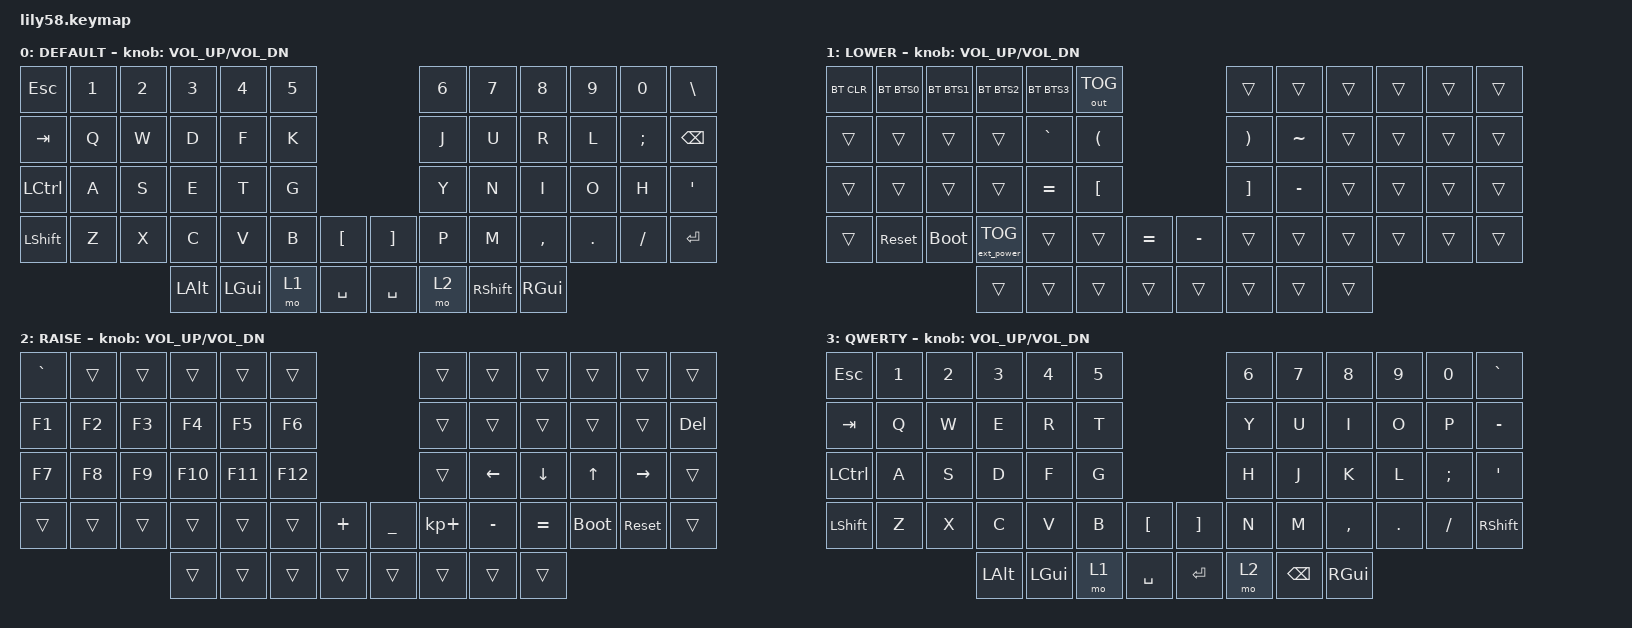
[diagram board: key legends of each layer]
/*
 * Copyright (c) 2020 The ZMK Contributors
 *
 * SPDX-License-Identifier: MIT
 */

#include <behaviors.dtsi>
#include <dt-bindings/zmk/keys.h>
#include <dt-bindings/zmk/bt.h>
#include <dt-bindings/zmk/ext_power.h>
#include <dt-bindings/zmk/outputs.h>

#define BTS0  BT_SEL 0
#define BTS1  BT_SEL 1
#define BTS2  BT_SEL 2
#define BTS3  BT_SEL 3
#define EPTOG &ext_power EP_TOG

// DEFINE LAYER NUMBERS
#define	DEFAULT 0
#define	LOWER 1
#define	RAISE 2
#define	QWERTY 3

/ {
	keymap {
		compatible = "zmk,keymap";

		DEFAULT {
// ------------------------------------------------------------------------------------------------------------
// |  ESC  |  1  |  2  |  3   |  4   |  5   |                   |  6   |  7    |  8    |  9   |   0   |   \   |
// |  TAB  |  Q  |  W  |  E   |  R   |  T   |                   |  Y   |  U    |  I    |  O   |   P   | BSPC  |
// |  CTRL |  A  |  S  |  D   |  F   |  G   |                   |  H   |  J    |  K    |  L   |   ;   |   '   |
// | SHIFT |  Z  |  X  |  C   |  V   |  B   |   "["  |  |  "]"  |  N   |  M    |  ,    |  .   |   /   | ENTER |
//                     | ALT  | GUI  | LOWER|  SPACE |  | SPACE | RAISE| BSPC  | GUI   |
			bindings = <
&kp ESC    &kp N1  &kp N2  &kp N3    &kp N4    &kp N5                        &kp N6  &kp N7     &kp N8     &kp N9   &kp N0    &kp BSLH
&kp TAB    &kp Q   &kp W   &kp D     &kp F     &kp K                         &kp J   &kp U      &kp R      &kp L    &kp SEMI  &kp BSPC
&kp LCTRL  &kp A   &kp S   &kp E     &kp T     &kp G                         &kp Y   &kp N      &kp I      &kp O    &kp H     &kp SQT
&kp LSHFT  &kp Z   &kp X   &kp C     &kp V     &kp B   &kp LBKT   &kp RBKT   &kp P   &kp M      &kp COMMA  &kp DOT  &kp FSLH  &kp RET
                           &kp LALT  &kp LGUI  &mo 1   &kp SPACE  &kp SPACE  &mo 2   &kp RSHFT  &kp RGUI
			>;

			sensor-bindings = <&inc_dec_kp C_VOL_UP C_VOL_DN>;
		};

		LOWER {
// ------------------------------------------------------------------------------------------------------------
// | BTCLR | BT0 | BT1 |  BT2 |  BT3 |  OUTPUT Toggle|          |      |       |       |      |       |       |
// |  F1   |  F2 |  F3 |  F4  |  F5  |  F6  |                   |  F7  |  F8   |  F9   |  F10 |  F11  |  F12  |
// |   `   |  !  |  @  |  #   |  $   |  %   |                   |  ^   |  &    |  *    |  (   |   )   |   ~   |
// |       |RESET| BLDR|      |      |      |        |  |       |      |  _    |  +    |  {   |   }   |  "|"  |
//                     |      |      |      |        |  |       |      |       |       |
			bindings = <
&bt BT_CLR  &bt BTS0   &bt BTS1      &bt BTS2  &bt BTS3   &out OUT_TOG                         &trans    &trans     &trans  &trans  &trans  &trans
&trans      &trans     &trans        &trans    &kp GRAVE  &kp LPAR                             &kp RPAR  &kp TILDE  &trans  &trans  &trans  &trans
&trans      &trans     &trans        &trans    &kp EQUAL  &kp LBKT                             &kp RBKT  &kp MINUS  &trans  &trans  &trans  &trans
&trans      &sys_reset &bootloader   EPTOG     &trans     &trans        &kp EQUAL   &kp MINUS  &trans    &trans     &trans  &trans  &trans  &trans
                                     &trans    &trans     &trans        &trans      &trans     &trans    &trans     &trans
			>;

			sensor-bindings = <&inc_dec_kp C_VOL_UP C_VOL_DN>;
		};

		RAISE {
// ------------------------------------------------------------------------------------------------------------
// |       |     |     |      |      |      |                   |      |       |       |      |       |       |
// |   `   |  1  |  2  |  3   |  4   |  5   |                   |  6   |   7   |   8   |  9   |   0   |       |
// |   F1  |  F2 |  F3 |  F4  |  F5  |  F6  |                   |      |   <-  |   ^   |  v   |  ->   |       |
// |   F7  |  F8 |  F9 |  F10 |  F11 |  F12 |        |  |       |  +   |   -   |   =   | BTLDR| RESET |   \   |
//                     |      |      |      |        |  |       |      |       |       |
			bindings = <
&kp GRAVE  &trans  &trans  &trans  &trans  &trans                          &trans       &trans     &trans     &trans       &trans     &trans
&kp F1     &kp F2  &kp F3  &kp F4  &kp F5  &kp F6                          &trans       &trans     &trans     &trans       &trans     &kp DEL
&kp F7     &kp F8  &kp F9  &kp F10 &kp F11 &kp F12                         &trans       &kp LEFT   &kp DOWN   &kp UP       &kp RIGHT  &trans
&trans     &trans  &trans  &trans  &trans  &trans   &kp PLUS    &kp UNDER  &kp KP_PLUS  &kp MINUS  &kp EQUAL  &bootloader  &sys_reset &trans
                           &trans  &trans  &trans   &trans      &trans     &trans       &trans     &trans
			>;

			sensor-bindings = <&inc_dec_kp C_VOL_UP C_VOL_DN>;
		};
		QWERTY {
// ------------------------------------------------------------------------------------------------------------
// |  ESC  |  1  |  2  |  3   |  4   |  5   |                   |  6   |  7    |  8    |  9   |   0   |   `   |
// |  TAB  |  Q  |  W  |  E   |  R   |  T   |                   |  Y   |  U    |  I    |  O   |   P   |   -   |
// |  CTRL |  A  |  S  |  D   |  F   |  G   |                   |  H   |  J    |  K    |  L   |   ;   |   '   |
// | SHIFT |  Z  |  X  |  C   |  V   |  B   |   "["  |  |  "]"  |  N   |  M    |  ,    |  .   |   /   | SHIFT |
//                     | ALT  | GUI  | LOWER|  SPACE |  | ENTER | RAISE| BSPC  | GUI   |
            bindings = <
&kp ESC   &kp N1 &kp N2 &kp N3   &kp N4   &kp N5                     &kp N6 &kp N7   &kp N8    &kp N9  &kp N0   &kp GRAVE
&kp TAB   &kp Q  &kp W  &kp E    &kp R    &kp T                      &kp Y  &kp U    &kp I     &kp O   &kp P    &kp MINUS
&kp LCTRL &kp A  &kp S  &kp D    &kp F    &kp G                      &kp H  &kp J    &kp K     &kp L   &kp SEMI &kp SQT
&kp LSHFT &kp Z  &kp X  &kp C    &kp V    &kp B  &kp LBKT   &kp RBKT &kp N  &kp M    &kp COMMA &kp DOT &kp FSLH &kp RSHFT
                        &kp LALT &kp LGUI &mo 1  &kp SPACE  &kp RET  &mo 2  &kp BSPC &kp RGUI
            >;

            sensor-bindings = <&inc_dec_kp C_VOL_UP C_VOL_DN>;
        };
	};
};
